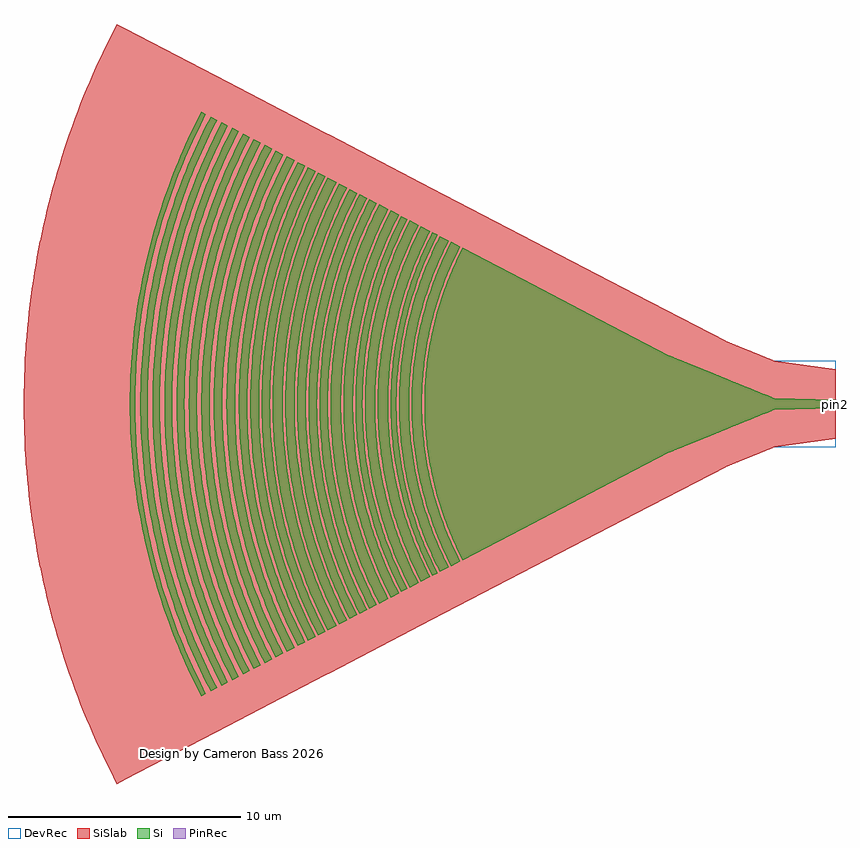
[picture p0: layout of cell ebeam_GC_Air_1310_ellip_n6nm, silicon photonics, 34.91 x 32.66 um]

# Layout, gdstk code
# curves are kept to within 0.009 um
import gdstk
lib = gdstk.Library(unit=1e-6, precision=1e-09)
def P(c, l, *ps):  # polygons
    for p in ps: c.add(gdstk.Polygon(p, *l))
Si = (1, 0)
PinRec = (1, 10)
SiSlab = (2, 0)
DevRec = (68, 0)

ebeam_gc_air_1310_ellip_ = lib.new_cell('ebeam_GC_Air_1310_ellip_n6nm')
P(ebeam_gc_air_1310_ellip_, Si, [(-16.046,-6.708),(-16.462,-5.838),(-16.778,-5.051),(-17.007,-4.382),(-17.272,-3.43),(-17.448,-2.6),(-17.575,-1.762),(-17.653,-0.918),(-17.681,-0.071),(-17.653,0.918),(-17.575,1.762),(-17.448,2.601),(-17.272,3.43),(-17.007,4.382),(-16.778,5.051),(-16.405,5.967),(-16.046,6.708),(-7.154,2.078),(-3.187,0.458),(-2.879,0.345),(-2.694,0.256),(-2.65,0.244),(0,0.175),(0,-0.175),(-2.679,-0.251),(-2.848,-0.331),(-3.202,-0.464),(-7.125,-2.064)],
  [(-16.537,-6.963),(-16.908,-6.196),(-17.244,-5.383),(-17.533,-4.551),(-17.773,-3.705),(-17.964,-2.845),(-18.104,-1.975),(-18.203,-0.954),(-18.233,-0.073),(-18.212,0.807),(-18.122,1.83),(-17.991,2.701),(-17.808,3.562),(-17.699,3.988),(-17.533,4.551),(-17.244,5.383),(-16.908,6.196),(-16.537,6.964),(-16.145,6.76),(-16.506,6.012),(-16.884,5.09),(-17.156,4.281),(-17.381,3.456),(-17.558,2.621),(-17.686,1.776),(-17.773,0.783),(-17.793,0.071),(-17.773,-0.783),(-17.686,-1.776),(-17.558,-2.62),(-17.381,-3.456),(-17.156,-4.281),(-16.884,-5.09),(-16.564,-5.882),(-16.145,-6.76)],
  [(-17.018,-7.214),(-17.402,-6.421),(-17.75,-5.578),(-18.049,-4.716),(-18.298,-3.838),(-18.495,-2.948),(-18.64,-2.047),(-18.733,-1.14),(-18.76,-0.684),(-18.774,-0.076),(-18.752,0.836),(-18.677,1.745),(-18.62,2.198),(-18.523,2.798),(-18.334,3.691),(-18.18,4.279),(-18.049,4.716),(-17.75,5.578),(-17.402,6.421),(-17.018,7.214),(-16.636,7.016),(-17.07,6.107),(-17.401,5.285),(-17.684,4.444),(-17.918,3.588),(-18.101,2.721),(-18.234,1.844),(-18.315,0.96),(-18.345,0.074),(-18.324,-0.812),(-18.234,-1.844),(-18.101,-2.721),(-17.918,-3.588),(-17.684,-4.444),(-17.401,-5.285),(-17.07,-6.107),(-16.636,-7.016)],
  [(-17.339,-7.381),(-17.731,-6.569),(-18.087,-5.707),(-18.393,-4.825),(-18.648,-3.927),(-18.85,-3.016),(-18.931,-2.556),(-19.018,-1.94),(-19.104,-1.011),(-19.135,-0.078),(-19.113,0.856),(-19.018,1.94),(-18.878,2.863),(-18.685,3.777),(-18.439,4.676),(-18.142,5.561),(-17.731,6.57),(-17.339,7.381),(-17.118,7.266),(-17.566,6.326),(-17.8,5.761),(-17.961,5.331),(-18.11,4.896),(-18.288,4.31),(-18.407,3.866),(-18.545,3.269),(-18.709,2.365),(-18.805,1.606),(-18.864,0.842),(-18.886,0.077),(-18.864,-0.842),(-18.805,-1.606),(-18.709,-2.365),(-18.545,-3.269),(-18.288,-4.31),(-18.11,-4.896),(-17.961,-5.33),(-17.566,-6.326),(-17.118,-7.266)],
  [(-17.834,-7.639),(-18.305,-6.652),(-18.665,-5.756),(-18.973,-4.84),(-19.227,-3.909),(-19.427,-2.963),(-19.571,-2.008),(-19.66,-1.046),(-19.693,-0.08),(-19.669,0.886),(-19.59,1.848),(-19.455,2.805),(-19.334,3.438),(-19.227,3.909),(-18.973,4.84),(-18.665,5.756),(-18.491,6.207),(-18.24,6.799),(-17.834,7.639),(-17.438,7.433),(-17.896,6.472),(-18.192,5.747),(-18.501,4.859),(-18.757,3.955),(-18.989,2.883),(-19.129,1.954),(-19.193,1.33),(-19.225,0.861),(-19.247,0.078),(-19.225,-0.861),(-19.193,-1.33),(-19.129,-1.954),(-18.989,-2.883),(-18.794,-3.802),(-18.547,-4.71),(-18.247,-5.6),(-17.896,-6.472),(-17.438,-7.433)],
  [(-18.314,-7.889),(-18.734,-7.021),(-18.993,-6.409),(-19.172,-5.944),(-19.491,-4.998),(-19.753,-4.036),(-19.959,-3.06),(-20.109,-2.073),(-20.2,-1.081),(-20.234,-0.083),(-20.21,0.915),(-20.128,1.908),(-19.988,2.896),(-19.792,3.875),(-19.629,4.519),(-19.491,4.998),(-19.172,5.944),(-18.993,6.409),(-18.734,7.022),(-18.314,7.889),(-17.935,7.691),(-18.343,6.845),(-18.536,6.399),(-18.772,5.795),(-19.082,4.874),(-19.338,3.935),(-19.539,2.983),(-19.684,2.022),(-19.774,1.053),(-19.807,0.081),(-19.783,-0.891),(-19.703,-1.861),(-19.567,-2.824),(-19.478,-3.302),(-19.338,-3.934),(-19.082,-4.873),(-18.772,-5.795),(-18.409,-6.697),(-17.935,-7.691)],
  [(-18.676,-8.077),(-19.106,-7.188),(-19.496,-6.244),(-19.831,-5.279),(-20.023,-4.626),(-20.15,-4.132),(-20.361,-3.133),(-20.514,-2.122),(-20.608,-1.106),(-20.642,-0.085),(-20.618,0.936),(-20.534,1.954),(-20.391,2.965),(-20.263,3.634),(-20.15,4.132),(-20.023,4.626),(-19.831,5.279),(-19.496,6.244),(-19.106,7.188),(-18.676,8.077),(-18.414,7.941),(-18.696,7.372),(-18.971,6.76),(-19.336,5.826),(-19.499,5.351),(-19.693,4.711),(-19.823,4.225),(-19.974,3.573),(-20.153,2.585),(-20.258,1.755),(-20.323,0.92),(-20.347,0.084),(-20.323,-0.92),(-20.258,-1.755),(-20.153,-2.585),(-20.008,-3.409),(-19.902,-3.899),(-19.738,-4.549),(-19.55,-5.191),(-19.392,-5.668),(-19.16,-6.295),(-18.971,-6.76),(-18.696,-7.372),(-18.414,-7.941)],
  [(-19.135,-8.316),(-19.577,-7.401),(-19.851,-6.755),(-20.04,-6.265),(-20.375,-5.268),(-20.652,-4.254),(-20.869,-3.225),(-21.027,-2.185),(-21.123,-1.139),(-21.159,-0.088),(-21.149,0.614),(-21.123,1.139),(-21.027,2.185),(-20.869,3.225),(-20.652,4.254),(-20.375,5.268),(-20.04,6.265),(-19.851,6.756),(-19.577,7.401),(-19.135,8.316),(-18.777,8.13),(-19.209,7.234),(-19.478,6.603),(-19.662,6.124),(-19.99,5.15),(-20.261,4.158),(-20.473,3.153),(-20.627,2.137),(-20.721,1.113),(-20.756,0.086),(-20.731,-0.942),(-20.647,-1.967),(-20.503,-2.984),(-20.409,-3.489),(-20.261,-4.158),(-19.99,-5.15),(-19.662,-6.124),(-19.279,-7.077),(-19.066,-7.546),(-18.777,-8.13)],
  [(-19.634,-8.576),(-20.088,-7.634),(-20.502,-6.632),(-20.857,-5.607),(-21.153,-4.564),(-21.387,-3.505),(-21.56,-2.434),(-21.67,-1.355),(-21.701,-0.814),(-21.719,-0.09),(-21.693,0.994),(-21.603,2.075),(-21.452,3.149),(-21.316,3.859),(-21.196,4.389),(-20.911,5.434),(-20.687,6.122),(-20.502,6.632),(-20.088,7.634),(-19.634,8.576),(-19.235,8.369),(-19.679,7.446),(-20.085,6.469),(-20.265,5.972),(-20.484,5.302),(-20.72,4.451),(-20.948,3.419),(-21.117,2.375),(-21.195,1.674),(-21.236,1.145),(-21.272,0.088),(-21.267,-0.441),(-21.236,-1.145),(-21.139,-2.199),(-20.981,-3.245),(-20.762,-4.28),(-20.484,-5.301),(-20.265,-5.972),(-20.085,-6.469),(-19.679,-7.446),(-19.235,-8.368)],
  [(-20.049,-8.792),(-20.361,-8.16),(-20.591,-7.654),(-21.005,-6.623),(-21.359,-5.569),(-21.652,-4.498),(-21.882,-3.41),(-22.048,-2.31),(-22.15,-1.204),(-22.188,-0.093),(-22.161,1.019),(-22.07,2.126),(-22,2.678),(-21.882,3.41),(-21.652,4.498),(-21.359,5.569),(-21.005,6.623),(-20.591,7.655),(-20.361,8.16),(-20.049,8.792),(-19.737,8.63),(-20.042,8.011),(-20.341,7.347),(-20.738,6.331),(-20.97,5.642),(-21.175,4.944),(-21.352,4.238),(-21.468,3.704),(-21.625,2.809),(-21.739,1.907),(-21.81,1),(-21.836,0.091),(-21.826,-0.636),(-21.757,-1.726),(-21.652,-2.629),(-21.468,-3.704),(-21.352,-4.237),(-21.175,-4.944),(-20.97,-5.641),(-20.738,-6.331),(-20.341,-7.346),(-20.042,-8.011),(-19.737,-8.63)],
  [(-20.469,-9.011),(-20.949,-8.017),(-21.384,-6.964),(-21.757,-5.888),(-22.068,-4.792),(-22.199,-4.238),(-22.349,-3.494),(-22.519,-2.367),(-22.624,-1.234),(-22.663,-0.095),(-22.635,1.044),(-22.541,2.179),(-22.382,3.307),(-22.278,3.867),(-22.113,4.609),(-21.921,5.342),(-21.757,5.888),(-21.384,6.964),(-20.949,8.017),(-20.469,9.011),(-20.149,8.844),(-20.463,8.209),(-20.769,7.528),(-21.047,6.837),(-21.238,6.311),(-21.413,5.781),(-21.623,5.066),(-21.806,4.342),(-21.924,3.796),(-22.085,2.878),(-22.202,1.954),(-22.274,1.024),(-22.301,0.093),(-22.283,-0.838),(-22.22,-1.769),(-22.112,-2.694),(-21.924,-3.796),(-21.806,-4.342),(-21.623,-5.066),(-21.413,-5.781),(-21.238,-6.311),(-20.98,-7.01),(-20.769,-7.528),(-20.463,-8.209),(-20.149,-8.844)],
  [(-20.904,-9.237),(-21.397,-8.215),(-21.842,-7.137),(-22.225,-6.034),(-22.544,-4.911),(-22.678,-4.343),(-22.832,-3.58),(-23.007,-2.426),(-23.114,-1.264),(-23.153,-0.097),(-23.148,0.487),(-23.114,1.264),(-23.007,2.426),(-22.832,3.581),(-22.59,4.723),(-22.283,5.848),(-21.911,6.955),(-21.476,8.038),(-21.234,8.568),(-20.904,9.237),(-20.573,9.065),(-20.897,8.41),(-21.21,7.712),(-21.495,7.004),(-21.691,6.466),(-21.871,5.922),(-22.086,5.19),(-22.229,4.634),(-22.394,3.889),(-22.559,2.949),(-22.679,2.002),(-22.753,1.05),(-22.781,0.096),(-22.762,-0.859),(-22.698,-1.812),(-22.587,-2.76),(-22.394,-3.889),(-22.229,-4.634),(-22.086,-5.19),(-21.871,-5.922),(-21.691,-6.466),(-21.495,-7.004),(-21.21,-7.712),(-20.897,-8.41),(-20.573,-9.065)],
  [(-21.354,-9.472),(-21.694,-8.787),(-21.941,-8.242),(-22.387,-7.132),(-22.769,-5.997),(-23.084,-4.843),(-23.332,-3.672),(-23.511,-2.488),(-23.621,-1.296),(-23.661,-0.1),(-23.656,0.499),(-23.621,1.297),(-23.511,2.488),(-23.332,3.672),(-23.084,4.843),(-22.769,5.997),(-22.387,7.132),(-21.941,8.243),(-21.694,8.787),(-21.354,9.472),(-21.003,9.289),(-21.251,8.794),(-21.579,8.082),(-21.806,7.541),(-22.084,6.81),(-22.334,6.068),(-22.502,5.506),(-22.7,4.748),(-22.87,3.985),(-23.039,3.022),(-23.162,2.051),(-23.238,1.075),(-23.266,0.098),(-23.247,-0.88),(-23.181,-1.857),(-23.068,-2.828),(-22.87,-3.984),(-22.7,-4.748),(-22.502,-5.506),(-22.334,-6.068),(-22.084,-6.81),(-21.806,-7.541),(-21.579,-8.082),(-21.335,-8.617),(-21.003,-9.289)],
  [(-21.842,-9.725),(-22.101,-9.209),(-22.443,-8.465),(-22.901,-7.324),(-23.106,-6.745),(-23.293,-6.159),(-23.464,-5.568),(-23.617,-4.974),(-23.753,-4.374),(-23.871,-3.771),(-23.972,-3.164),(-24.055,-2.555),(-24.168,-1.331),(-24.198,-0.717),(-24.209,-0.102),(-24.18,1.127),(-24.079,2.352),(-23.972,3.164),(-23.871,3.771),(-23.753,4.374),(-23.617,4.974),(-23.464,5.569),(-23.293,6.159),(-23.106,6.745),(-22.901,7.325),(-22.603,8.088),(-22.36,8.653),(-21.842,9.726),(-21.454,9.524),(-21.962,8.47),(-22.201,7.918),(-22.423,7.359),(-22.818,6.222),(-23.146,5.064),(-23.285,4.478),(-23.406,3.889),(-23.598,2.701),(-23.72,1.503),(-23.755,0.902),(-23.774,0.1),(-23.745,-1.103),(-23.687,-1.904),(-23.623,-2.502),(-23.443,-3.692),(-23.194,-4.869),(-22.877,-6.031),(-22.494,-7.171),(-22.044,-8.287),(-21.795,-8.836),(-21.454,-9.524)],
  [(-22.256,-9.941),(-22.786,-8.843),(-23.266,-7.682),(-23.48,-7.092),(-23.74,-6.295),(-24.071,-5.084),(-24.33,-3.854),(-24.433,-3.234),(-24.518,-2.611),(-24.634,-1.361),(-24.676,-0.105),(-24.67,0.524),(-24.646,1.152),(-24.543,2.403),(-24.464,3.027),(-24.367,3.648),(-24.252,4.266),(-24.071,5.084),(-23.74,6.295),(-23.548,6.894),(-23.266,7.682),(-22.786,8.844),(-22.256,9.941),(-21.942,9.777),(-22.29,9.073),(-22.628,8.321),(-23.078,7.17),(-23.278,6.586),(-23.517,5.798),(-23.677,5.2),(-23.863,4.397),(-23.982,3.791),(-24.083,3.181),(-24.212,2.16),(-24.292,1.132),(-24.322,0.103),(-24.316,-0.515),(-24.292,-1.132),(-24.212,-2.16),(-24.083,-3.181),(-23.982,-3.791),(-23.863,-4.397),(-23.677,-5.2),(-23.517,-5.797),(-23.278,-6.585),(-23.078,-7.17),(-22.785,-7.94),(-22.546,-8.509),(-22.29,-9.073),(-21.942,-9.777)],
  [(-22.691,-10.167),(-23.234,-9.042),(-23.488,-8.452),(-23.725,-7.855),(-23.944,-7.251),(-24.146,-6.641),(-24.388,-5.819),(-24.548,-5.198),(-24.69,-4.571),(-24.813,-3.941),(-24.919,-3.307),(-25.006,-2.67),(-25.074,-2.031),(-25.124,-1.391),(-25.155,-0.75),(-25.167,-0.107),(-25.161,0.536),(-25.136,1.178),(-25.093,1.818),(-25.031,2.457),(-24.95,3.095),(-24.851,3.73),(-24.69,4.571),(-24.548,5.198),(-24.388,5.819),(-24.209,6.437),(-24.013,7.049),(-23.8,7.655),(-23.569,8.254),(-23.321,8.847),(-22.963,9.624),(-22.691,10.167),(-22.359,9.995),(-22.716,9.273),(-22.977,8.697),(-23.3,7.919),(-23.521,7.328),(-23.79,6.53),(-23.97,5.925),(-24.134,5.314),(-24.324,4.494),(-24.516,3.46),(-24.659,2.417),(-24.75,1.367),(-24.781,0.737),(-24.793,0.105),(-24.773,-0.947),(-24.681,-2.207),(-24.549,-3.251),(-24.324,-4.494),(-24.134,-5.314),(-23.97,-5.925),(-23.79,-6.53),(-23.521,-7.328),(-23.3,-7.919),(-22.977,-8.697),(-22.716,-9.273),(-22.359,-9.995)],
  [(-23.123,-10.392),(-23.499,-9.634),(-23.77,-9.037),(-24.26,-7.819),(-24.478,-7.2),(-24.678,-6.575),(-24.86,-5.945),(-25.024,-5.31),(-25.169,-4.67),(-25.296,-4.026),(-25.403,-3.378),(-25.492,-2.728),(-25.562,-2.075),(-25.613,-1.421),(-25.645,-0.766),(-25.657,-0.109),(-25.651,0.547),(-25.626,1.203),(-25.581,1.858),(-25.518,2.51),(-25.435,3.162),(-25.296,4.026),(-25.169,4.67),(-25.024,5.31),(-24.86,5.945),(-24.678,6.575),(-24.478,7.201),(-24.26,7.82),(-23.77,9.037),(-23.499,9.634),(-23.123,10.392),(-22.807,10.228),(-23.174,9.485),(-23.528,8.699),(-23.772,8.101),(-23.998,7.496),(-24.273,6.68),(-24.458,6.061),(-24.677,5.227),(-24.82,4.597),(-25.017,3.539),(-25.11,2.9),(-25.185,2.258),(-25.268,1.184),(-25.3,0.108),(-25.279,-0.969),(-25.185,-2.258),(-25.017,-3.539),(-24.82,-4.597),(-24.677,-5.227),(-24.458,-6.061),(-24.273,-6.68),(-23.998,-7.496),(-23.772,-8.101),(-23.442,-8.896),(-23.174,-9.485),(-22.807,-10.228)],
  [(-23.592,-10.637),(-24.167,-9.449),(-24.432,-8.832),(-24.68,-8.208),(-24.91,-7.577),(-25.121,-6.94),(-25.314,-6.296),(-25.488,-5.649),(-25.643,-4.995),(-25.778,-4.338),(-25.93,-3.455),(-26.021,-2.79),(-26.092,-2.122),(-26.144,-1.454),(-26.177,-0.783),(-26.19,-0.112),(-26.183,0.56),(-26.157,1.231),(-26.112,1.9),(-26.047,2.568),(-25.962,3.234),(-25.858,3.898),(-25.69,4.777),(-25.541,5.432),(-25.374,6.081),(-25.187,6.726),(-24.982,7.366),(-24.759,7.999),(-24.517,8.625),(-24.258,9.244),(-23.98,9.855),(-23.592,10.637),(-23.265,10.467),(-23.644,9.701),(-24.006,8.897),(-24.255,8.285),(-24.487,7.667),(-24.701,7.042),(-24.958,6.199),(-25.129,5.561),(-25.328,4.702),(-25.53,3.619),(-25.679,2.528),(-25.742,1.871),(-25.787,1.211),(-25.819,0.11),(-25.798,-0.991),(-25.76,-1.65),(-25.702,-2.309),(-25.564,-3.402),(-25.455,-4.053),(-25.328,-4.702),(-25.182,-5.346),(-24.958,-6.199),(-24.701,-7.041),(-24.487,-7.666),(-24.174,-8.49),(-23.918,-9.099),(-23.644,-9.701),(-23.265,-10.467)],
  [(-24.074,-10.888),(-24.376,-10.288),(-24.666,-9.666),(-24.938,-9.035),(-25.192,-8.397),(-25.427,-7.752),(-25.711,-6.881),(-25.902,-6.221),(-26.073,-5.557),(-26.225,-4.887),(-26.358,-4.213),(-26.471,-3.535),(-26.564,-2.854),(-26.637,-2.171),(-26.69,-1.487),(-26.724,-0.801),(-26.737,-0.114),(-26.73,0.573),(-26.704,1.259),(-26.657,1.944),(-26.564,2.855),(-26.471,3.535),(-26.358,4.213),(-26.225,4.887),(-26.073,5.557),(-25.902,6.221),(-25.711,6.881),(-25.427,7.752),(-25.192,8.397),(-24.938,9.036),(-24.666,9.666),(-24.376,10.288),(-24.074,10.888),(-23.753,10.721),(-24.144,9.931),(-24.515,9.107),(-24.771,8.481),(-25.008,7.848),(-25.296,6.993),(-25.49,6.345),(-25.72,5.472),(-25.869,4.813),(-26.076,3.705),(-26.229,2.588),(-26.327,1.464),(-26.36,0.789),(-26.373,0.113),(-26.351,-1.014),(-26.253,-2.364),(-26.111,-3.482),(-26,-4.149),(-25.869,-4.813),(-25.72,-5.472),(-25.49,-6.345),(-25.296,-6.993),(-25.008,-7.848),(-24.771,-8.481),(-24.425,-9.314),(-24.047,-10.134),(-23.753,-10.721)],
  [(-24.545,-11.133),(-24.855,-10.516),(-25.152,-9.88),(-25.43,-9.235),(-25.689,-8.583),(-25.93,-7.923),(-26.151,-7.257),(-26.415,-6.359),(-26.591,-5.68),(-26.746,-4.995),(-26.882,-4.306),(-26.997,-3.613),(-27.092,-2.918),(-27.167,-2.219),(-27.222,-1.52),(-27.256,-0.819),(-27.269,-0.117),(-27.256,0.819),(-27.222,1.521),(-27.167,2.22),(-27.092,2.918),(-26.997,3.613),(-26.882,4.306),(-26.746,4.995),(-26.591,5.68),(-26.415,6.359),(-26.151,7.257),(-25.93,7.923),(-25.689,8.583),(-25.43,9.236),(-25.152,9.88),(-24.855,10.516),(-24.545,11.133),(-24.234,10.972),(-24.638,10.158),(-24.925,9.527),(-25.194,8.889),(-25.522,8.027),(-25.817,7.153),(-26.015,6.491),(-26.195,5.821),(-26.403,4.923),(-26.615,3.79),(-26.771,2.647),(-26.872,1.498),(-26.905,0.807),(-26.918,0.115),(-26.912,-0.576),(-26.885,-1.268),(-26.795,-2.418),(-26.715,-3.105),(-26.615,-3.79),(-26.403,-4.923),(-26.195,-5.821),(-26.015,-6.49),(-25.817,-7.153),(-25.522,-8.027),(-25.194,-8.889),(-24.925,-9.527),(-24.638,-10.158),(-24.234,-10.972)],
  [(-25.018,-11.379),(-25.336,-10.746),(-25.64,-10.096),(-25.923,-9.438),(-26.189,-8.771),(-26.434,-8.097),(-26.66,-7.416),(-26.867,-6.728),(-27.053,-6.035),(-27.218,-5.338),(-27.364,-4.635),(-27.488,-3.929),(-27.593,-3.219),(-27.676,-2.506),(-27.739,-1.792),(-27.79,-0.837),(-27.804,-0.12),(-27.797,0.598),(-27.769,1.315),(-27.72,2.031),(-27.651,2.744),(-27.56,3.456),(-27.408,4.4),(-27.269,5.105),(-27.11,5.804),(-26.931,6.498),(-26.731,7.188),(-26.512,7.871),(-26.189,8.771),(-25.923,9.438),(-25.64,10.096),(-25.336,10.746),(-25.018,11.379),(-24.714,11.222),(-25.129,10.386),(-25.422,9.741),(-25.697,9.089),(-26.033,8.208),(-26.262,7.539),(-26.537,6.637),(-26.721,5.952),(-26.934,5.034),(-27.15,3.875),(-27.31,2.707),(-27.379,2.002),(-27.427,1.296),(-27.461,0.118),(-27.454,-0.589),(-27.427,-1.296),(-27.335,-2.472),(-27.187,-3.642),(-27.071,-4.34),(-26.934,-5.034),(-26.721,-5.952),(-26.537,-6.636),(-26.262,-7.539),(-26.033,-8.208),(-25.697,-9.089),(-25.422,-9.741),(-25.129,-10.386),(-24.714,-11.221)],
  [(-25.479,-11.619),(-25.805,-10.972),(-26.115,-10.309),(-26.404,-9.636),(-26.675,-8.955),(-26.926,-8.267),(-27.157,-7.572),(-27.368,-6.87),(-27.558,-6.163),(-27.779,-5.212),(-27.92,-4.493),(-28.041,-3.77),(-28.14,-3.044),(-28.218,-2.316),(-28.275,-1.586),(-28.31,-0.855),(-28.325,-0.122),(-28.31,0.855),(-28.275,1.586),(-28.218,2.316),(-28.14,3.044),(-28.041,3.77),(-27.92,4.493),(-27.779,5.212),(-27.616,5.926),(-27.433,6.635),(-27.23,7.338),(-27.006,8.036),(-26.761,8.727),(-26.497,9.41),(-26.115,10.309),(-25.805,10.972),(-25.479,11.619),(-25.188,11.468),(-25.613,10.613),(-26.009,9.733),(-26.283,9.064),(-26.537,8.387),(-26.845,7.474),(-27.052,6.782),(-27.24,6.082),(-27.407,5.379),(-27.553,4.671),(-27.679,3.96),(-27.842,2.766),(-27.912,2.047),(-27.961,1.325),(-27.996,0.121),(-27.973,-1.084),(-27.931,-1.805),(-27.868,-2.526),(-27.784,-3.244),(-27.679,-3.959),(-27.458,-5.143),(-27.298,-5.848),(-27.052,-6.781),(-26.845,-7.474),(-26.537,-8.387),(-26.283,-9.064),(-25.913,-9.954),(-25.613,-10.613),(-25.188,-11.468)],
  [(-25.945,-11.861),(-26.277,-11.2),(-26.594,-10.523),(-26.889,-9.837),(-27.166,-9.142),(-27.422,-8.439),(-27.658,-7.729),(-27.873,-7.013),(-28.067,-6.29),(-28.292,-5.32),(-28.437,-4.586),(-28.559,-3.848),(-28.661,-3.107),(-28.741,-2.364),(-28.799,-1.619),(-28.835,-0.872),(-28.849,-0.125),(-28.835,0.872),(-28.799,1.619),(-28.741,2.364),(-28.661,3.108),(-28.559,3.849),(-28.437,4.586),(-28.292,5.32),(-28.126,6.049),(-27.94,6.773),(-27.732,7.491),(-27.503,8.203),(-27.254,8.908),(-26.984,9.606),(-26.594,10.523),(-26.277,11.2),(-25.945,11.862),(-25.658,11.713),(-26.092,10.839),(-26.497,9.94),(-26.776,9.256),(-27.036,8.565),(-27.275,7.867),(-27.563,6.926),(-27.754,6.212),(-27.977,5.253),(-28.202,4.044),(-28.369,2.825),(-28.441,2.09),(-28.491,1.353),(-28.527,0.123),(-28.519,-0.615),(-28.491,-1.353),(-28.395,-2.58),(-28.24,-3.8),(-28.119,-4.528),(-27.977,-5.253),(-27.813,-5.973),(-27.563,-6.925),(-27.275,-7.867),(-27.036,-8.565),(-26.685,-9.485),(-26.399,-10.165),(-25.986,-11.06),(-25.658,-11.713)],
  [(-26.403,-12.1),(-26.743,-11.425),(-27.066,-10.734),(-27.367,-10.034),(-27.649,-9.325),(-27.911,-8.608),(-28.151,-7.884),(-28.37,-7.153),(-28.568,-6.418),(-28.744,-5.675),(-28.899,-4.928),(-29.032,-4.177),(-29.142,-3.422),(-29.231,-2.664),(-29.298,-1.905),(-29.352,-0.89),(-29.367,-0.127),(-29.359,0.636),(-29.33,1.398),(-29.278,2.159),(-29.204,2.918),(-29.108,3.674),(-28.946,4.678),(-28.798,5.427),(-28.629,6.171),(-28.439,6.909),(-28.227,7.642),(-27.993,8.368),(-27.739,9.087),(-27.464,9.799),(-27.066,10.734),(-26.743,11.425),(-26.403,12.1),(-26.127,11.957),(-26.462,11.291),(-26.781,10.607),(-27.081,9.915),(-27.448,8.98),(-27.699,8.269),(-28.002,7.311),(-28.267,6.341),(-28.441,5.608),(-28.594,4.87),(-28.725,4.128),(-28.895,2.884),(-29.005,1.632),(-29.041,0.879),(-29.056,0.126),(-29.048,-0.628),(-29.019,-1.381),(-28.922,-2.634),(-28.834,-3.382),(-28.725,-4.128),(-28.594,-4.87),(-28.441,-5.608),(-28.267,-6.341),(-28.002,-7.311),(-27.699,-8.269),(-27.448,-8.979),(-27.176,-9.682),(-26.884,-10.377),(-26.571,-11.064),(-26.127,-11.957)],
  [(-26.874,-12.345),(-27.325,-11.436),(-27.647,-10.728),(-27.948,-10.009),(-28.229,-9.282),(-28.488,-8.548),(-28.726,-7.806),(-28.942,-7.057),(-29.137,-6.303),(-29.309,-5.543),(-29.459,-4.779),(-29.587,-4.01),(-29.693,-3.238),(-29.775,-2.463),(-29.836,-1.687),(-29.874,-0.909),(-29.889,-0.13),(-29.874,0.909),(-29.836,1.687),(-29.775,2.463),(-29.693,3.238),(-29.587,4.01),(-29.459,4.779),(-29.309,5.544),(-29.137,6.303),(-28.942,7.057),(-28.726,7.806),(-28.488,8.548),(-28.229,9.283),(-27.948,10.009),(-27.647,10.728),(-27.325,11.436),(-26.874,12.346),(-26.594,12.201),(-27.047,11.289),(-27.366,10.588),(-27.76,9.641),(-28.03,8.921),(-28.279,8.194),(-28.507,7.459),(-28.714,6.719),(-28.955,5.722),(-29.203,4.464),(-29.322,3.705),(-29.419,2.942),(-29.493,2.177),(-29.545,1.409),(-29.583,0.128),(-29.558,-1.153),(-29.513,-1.92),(-29.446,-2.687),(-29.285,-3.958),(-29.158,-4.717),(-29.01,-5.471),(-28.778,-6.469),(-28.578,-7.213),(-28.358,-7.95),(-28.03,-8.921),(-27.76,-9.641),(-27.366,-10.588),(-27.047,-11.289),(-26.594,-12.2)],
  [(-27.272,-12.553),(-27.624,-11.85),(-27.959,-11.134),(-28.271,-10.408),(-28.563,-9.672),(-28.82,-8.97),(-29.083,-8.178),(-29.31,-7.42),(-29.515,-6.656),(-29.697,-5.887),(-29.857,-5.112),(-29.995,-4.332),(-30.11,-3.55),(-30.227,-2.501),(-30.283,-1.794),(-30.327,-0.923),(-30.342,-0.132),(-30.334,0.659),(-30.304,1.45),(-30.25,2.239),(-30.143,3.288),(-30.036,4.072),(-29.906,4.853),(-29.753,5.629),(-29.578,6.401),(-29.381,7.166),(-29.161,7.926),(-28.92,8.68),(-28.656,9.426),(-28.371,10.164),(-27.959,11.135),(-27.624,11.851),(-27.272,12.553),(-27.073,12.45),(-27.414,11.769),(-27.746,11.057),(-28.157,10.093),(-28.44,9.36),(-28.702,8.62),(-28.942,7.872),(-29.228,6.864),(-29.416,6.101),(-29.681,4.819),(-29.81,4.044),(-29.916,3.266),(-30,2.485),(-30.061,1.701),(-30.099,0.916),(-30.114,0.131),(-30.089,-1.178),(-30.043,-1.962),(-29.974,-2.745),(-29.883,-3.525),(-29.769,-4.303),(-29.633,-5.076),(-29.474,-5.845),(-29.293,-6.61),(-29.09,-7.369),(-28.864,-8.122),(-28.53,-9.114),(-28.254,-9.85),(-27.853,-10.817),(-27.527,-11.533),(-27.073,-12.45)])
P(ebeam_gc_air_1310_ellip_, SiSlab, [(-30.904,-16.329),(-31.366,-15.41),(-31.801,-14.477),(-32.208,-13.533),(-32.588,-12.577),(-32.94,-11.61),(-33.264,-10.634),(-33.559,-9.648),(-33.825,-8.655),(-34.062,-7.654),(-34.27,-6.647),(-34.449,-5.634),(-34.598,-4.616),(-34.717,-3.594),(-34.807,-2.569),(-34.867,-1.543),(-34.9,-0.171),(-34.89,0.857),(-34.85,1.885),(-34.781,2.912),(-34.681,3.935),(-34.552,4.956),(-34.393,5.972),(-34.135,7.319),(-33.907,8.322),(-33.651,9.318),(-33.365,10.307),(-33.051,11.286),(-32.709,12.256),(-32.338,13.216),(-31.94,14.164),(-31.366,15.41),(-30.904,16.329),(-4.744,2.708),(-2.65,1.855),(0,1.5),(0,-1.5),(-2.65,-1.855),(-4.728,-2.7)])
P(ebeam_gc_air_1310_ellip_, DevRec, [(-30.904,-16.329),(-31.366,-15.41),(-31.801,-14.477),(-32.208,-13.533),(-32.588,-12.577),(-32.94,-11.61),(-33.264,-10.634),(-33.559,-9.648),(-33.825,-8.655),(-34.062,-7.654),(-34.27,-6.647),(-34.449,-5.634),(-34.598,-4.616),(-34.717,-3.594),(-34.807,-2.569),(-34.867,-1.543),(-34.9,-0.171),(-34.89,0.857),(-34.85,1.885),(-34.781,2.912),(-34.681,3.935),(-34.552,4.956),(-34.393,5.972),(-34.135,7.319),(-33.907,8.322),(-33.651,9.318),(-33.365,10.307),(-33.051,11.286),(-32.709,12.256),(-32.338,13.216),(-31.94,14.164),(-31.366,15.41),(-30.904,16.329),(-4.744,2.708),(-2.65,1.855),(0,1.855),(0,-1.855),(-2.65,-1.855),(-4.728,-2.7)])
ebeam_gc_air_1310_ellip_.add(gdstk.FlexPath([(-0.01,0),(0.01,0)], 0.35, ends="flush", simple_path=True, layer=1, datatype=10))  # PinRec
ebeam_gc_air_1310_ellip_.add(gdstk.Label('pin2', (0,0), layer=1, texttype=10))
ebeam_gc_air_1310_ellip_.add(gdstk.Label('Design by Cameron Bass 2026', (-25.94,-15.02), layer=10, texttype=0))

lib.write_gds('ebeam_GC_Air_1310_ellip_n6nm.gds')
